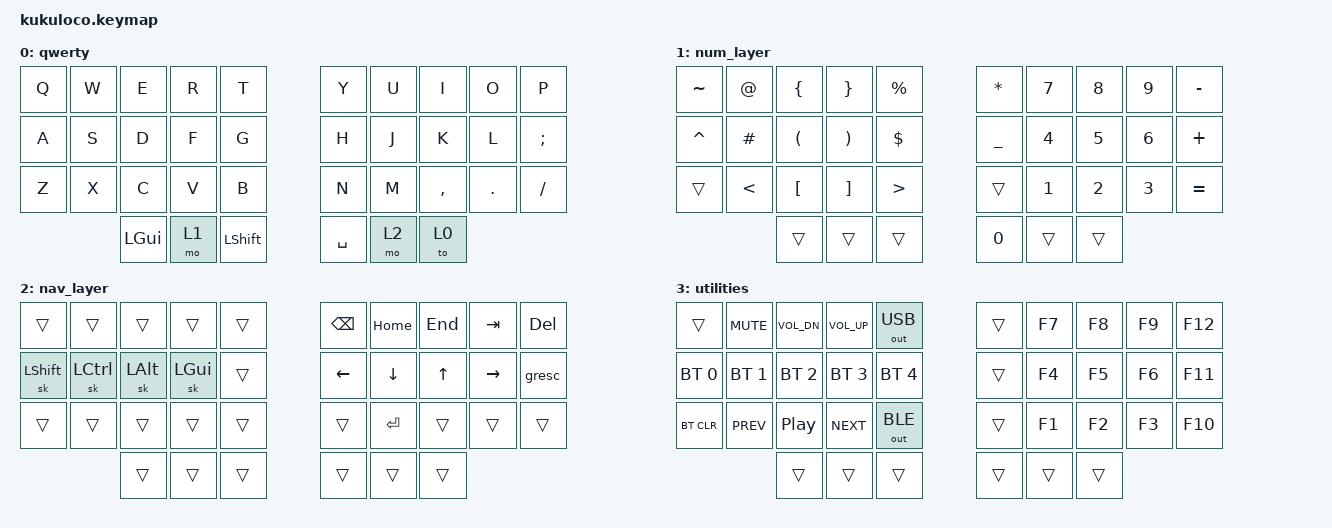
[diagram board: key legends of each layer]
/*
 * Copyright (c) 2020 The ZMK Contributors
 *
 * SPDX-License-Identifier: MIT
 */

#include <behaviors.dtsi>
#include <dt-bindings/zmk/bt.h>
#include <dt-bindings/zmk/keys.h>
#include <dt-bindings/zmk/outputs.h>

/ {
    combos {
        compatible = "zmk,combos";

        activate.3.layer {
            bindings = <&mo 3>;
            key-positions = <31 34>;
        };
    };

    keymap {
        compatible = "zmk,keymap";

        qwerty_layer {
            bindings = <
&kp Q  &kp W  &kp E     &kp R  &kp T             &kp Y      &kp U  &kp I      &kp O    &kp P
&kp A  &kp S  &kp D     &kp F  &kp G             &kp H      &kp J  &kp K      &kp L    &kp SEMI
&kp Z  &kp X  &kp C     &kp V  &kp B             &kp N      &kp M  &kp COMMA  &kp DOT  &kp SLASH
              &kp LGUI  &mo 1  &kp LEFT_SHIFT    &kp SPACE  &mo 2  &to 0
            >;

            label = "qwerty";
        };

        num_layer {
            bindings = <
&kp TILDE  &kp AT    &kp LBRC  &kp RBRC  &kp PRCNT    &kp STAR   &kp N7  &kp N8  &kp N9  &kp MINUS
&kp CARET  &kp HASH  &kp LPAR  &kp RPAR  &kp DLLR     &kp UNDER  &kp N4  &kp N5  &kp N6  &kp PLUS
&trans     &kp LT    &kp LBKT  &kp RBKT  &kp GT       &trans     &kp N1  &kp N2  &kp N3  &kp EQUAL
                     &trans    &trans    &trans       &kp N0     &trans  &trans
            >;
        };

        nav_layer {
            bindings = <
&trans     &trans     &trans    &trans    &trans    &kp BACKSPACE  &kp HOME  &kp END  &kp TAB    &kp DELETE
&sk LSHFT  &sk LCTRL  &sk LALT  &sk LGUI  &trans    &kp LEFT       &kp DOWN  &kp UP   &kp RIGHT  &gresc
&trans     &trans     &trans    &trans    &trans    &trans         &kp RET   &trans   &trans     &trans
                      &trans    &trans    &trans    &trans         &trans    &trans
            >;
        };

        utilities {
            bindings = <
&trans        &kp K_MUTE    &kp C_VOL_DN  &kp C_VOL_UP  &out OUT_USB    &trans  &kp F7  &kp F8  &kp F9  &kp F12
&bt BT_SEL 0  &bt BT_SEL 1  &bt BT_SEL 2  &bt BT_SEL 3  &bt BT_SEL 4    &trans  &kp F4  &kp F5  &kp F6  &kp F11
&bt BT_CLR    &kp C_PREV    &kp C_PP      &kp C_NEXT    &out OUT_BLE    &trans  &kp F1  &kp F2  &kp F3  &kp F10
                            &trans        &trans        &trans          &trans  &trans  &trans
            >;
        };
    };
};
